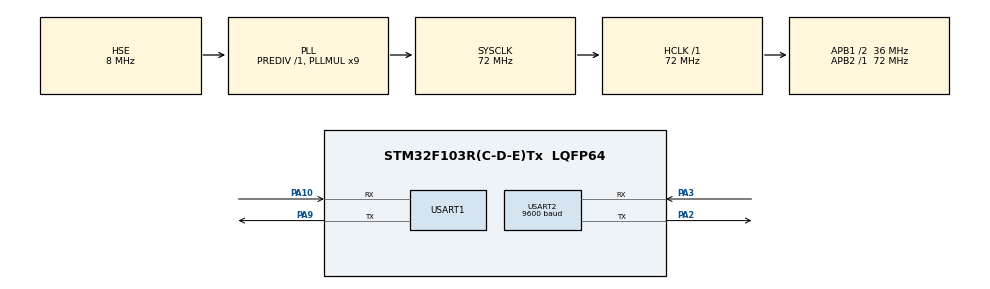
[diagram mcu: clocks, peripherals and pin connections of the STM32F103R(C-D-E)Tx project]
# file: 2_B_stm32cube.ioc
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Dma.Request0=USART2_RX
Dma.USART2_RX.0.Direction=DMA_PERIPH_TO_MEMORY
Dma.USART2_RX.0.Instance=DMA1_Channel6
Dma.USART2_RX.0.MemDataAlignment=DMA_MDATAALIGN_BYTE
Dma.USART2_RX.0.MemInc=DMA_MINC_ENABLE
Dma.USART2_RX.0.Mode=DMA_NORMAL
Dma.USART2_RX.0.PeriphDataAlignment=DMA_PDATAALIGN_BYTE
Dma.USART2_RX.0.PeriphInc=DMA_PINC_DISABLE
Dma.USART2_RX.0.Priority=DMA_PRIORITY_LOW
Mcu.Family=STM32F1
Mcu.Name=STM32F103R(C-D-E)Tx
Mcu.Package=LQFP64
NVIC.DMA1_Channel6_IRQn=true\:0\:0\:false\:false\:true\:false\:true\:true
NVIC.PriorityGroup=NVIC_PRIORITYGROUP_4
NVIC.USART2_IRQn=true\:0\:0\:false\:false\:true\:true\:true\:true
PA10.Mode=Asynchronous
PA10.Signal=USART1_RX
PA13.Mode=Serial_Wire
PA13.Signal=SYS_JTMS-SWDIO
PA14.Mode=Serial_Wire
PA14.Signal=SYS_JTCK-SWCLK
PA2.Mode=Asynchronous
PA2.Signal=USART2_TX
PA3.Mode=Asynchronous
PA3.Signal=USART2_RX
PA9.Mode=Asynchronous
PA9.Signal=USART1_TX
PD0-OSC_IN.Mode=HSE-External-Oscillator
PD0-OSC_IN.Signal=RCC_OSC_IN
PD1-OSC_OUT.Mode=HSE-External-Oscillator
PD1-OSC_OUT.Signal=RCC_OSC_OUT
ProjectManager.HeapSize=0x200
ProjectManager.StackSize=0x400
ProjectManager.TargetToolchain=STM32CubeIDE
RCC.AHBFreq_Value=72000000
RCC.APB1CLKDivider=RCC_HCLK_DIV2
RCC.APB1Freq_Value=36000000
RCC.APB1TimFreq_Value=72000000
RCC.APB2Freq_Value=72000000
RCC.APB2TimFreq_Value=72000000
RCC.HCLKFreq_Value=72000000
RCC.PLLMUL=RCC_PLL_MUL9
RCC.PLLSourceVirtual=RCC_PLLSOURCE_HSE
RCC.SYSCLKFreq_VALUE=72000000
RCC.SYSCLKSource=RCC_SYSCLKSOURCE_PLLCLK
RCC.USBFreq_Value=72000000
USART1.VirtualMode=VM_ASYNC
USART2.BaudRate=9600
USART2.VirtualMode=VM_ASYNC
board=custom

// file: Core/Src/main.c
/* USER CODE BEGIN Header */
/**
 ******************************************************************************
 * @file           : main.c
 * @brief          : Main program body
 ******************************************************************************
 * @attention
 *
 * Copyright (c) 2023 STMicroelectronics.
 * All rights reserved.
 *
 * This software is licensed under terms that can be found in the LICENSE file
 * in the root directory of this software component.
 * If no LICENSE file comes with this software, it is provided AS-IS.
 *
 ******************************************************************************
 */
/* USER CODE END Header */
#include "main.h"
#include "dma.h"
#include "gpio.h"
#include "usart.h"

/* USER CODE BEGIN PV */
uint8_t a = 0;
uint8_t b = 0;
uint8_t c = 0;
uint8_t d = 0;
uint8_t u2_RX_Buf[11];
/* USER CODE END PV */

void SystemClock_Config(void);

/* USER CODE BEGIN 0 */
uint8_t isNear(uint8_t a, uint8_t b, uint8_t c, uint8_t d) {
  if ((a == c && b - d <= 1 && b - d >= -1) ||
      (b == d && a - c <= 1 && a - c >= -1))
    return 1;
  else
    return 0;
}
/* USER CODE END 0 */

int main(void) {

  /* MCU Configuration--------------------------------------------------------*/

  /* Reset of all peripherals, Initializes the Flash interface and the Systick.
   */
  HAL_Init();

  /* Configure the system clock */
  SystemClock_Config();

  /* Initialize all configured peripherals */
  MX_GPIO_Init();
  MX_DMA_Init();
  MX_USART1_UART_Init();
  MX_USART2_UART_Init();

  /* Infinite loop */
  while (1) {

    /* USER CODE BEGIN 3 */
    while (HAL_UART_Receive(&huart2, u2_RX_Buf, sizeof(u2_RX_Buf), 100) !=
           HAL_OK)
      ;
    sscanf((char *)u2_RX_Buf, "%d %d %d %d", &a, &b, &c, &d);
    if (isNear(a, b, c, d)) {
      u2_printf("true ");
    } else {
      u2_printf("false");
    }
  }
  /* USER CODE END 3 */
}

void SystemClock_Config(void) {
  RCC_OscInitTypeDef RCC_OscInitStruct = {0};
  RCC_ClkInitTypeDef RCC_ClkInitStruct = {0};

  /** Initializes the RCC Oscillators according to the specified parameters
   * in the RCC_OscInitTypeDef structure.
   */
  RCC_OscInitStruct.OscillatorType = RCC_OSCILLATORTYPE_HSE;
  RCC_OscInitStruct.HSEState = RCC_HSE_ON;
  RCC_OscInitStruct.HSEPredivValue = RCC_HSE_PREDIV_DIV1;
  RCC_OscInitStruct.HSIState = RCC_HSI_ON;
  RCC_OscInitStruct.PLL.PLLState = RCC_PLL_ON;
  RCC_OscInitStruct.PLL.PLLSource = RCC_PLLSOURCE_HSE;
  RCC_OscInitStruct.PLL.PLLMUL = RCC_PLL_MUL9;
  if (HAL_RCC_OscConfig(&RCC_OscInitStruct) != HAL_OK) {
    Error_Handler();
  }

  /** Initializes the CPU, AHB and APB buses clocks
   */
  RCC_ClkInitStruct.ClockType = RCC_CLOCKTYPE_HCLK | RCC_CLOCKTYPE_SYSCLK |
                                RCC_CLOCKTYPE_PCLK1 | RCC_CLOCKTYPE_PCLK2;
  RCC_ClkInitStruct.SYSCLKSource = RCC_SYSCLKSOURCE_PLLCLK;
  RCC_ClkInitStruct.AHBCLKDivider = RCC_SYSCLK_DIV1;
  RCC_ClkInitStruct.APB1CLKDivider = RCC_HCLK_DIV2;
  RCC_ClkInitStruct.APB2CLKDivider = RCC_HCLK_DIV1;

  if (HAL_RCC_ClockConfig(&RCC_ClkInitStruct, FLASH_LATENCY_2) != HAL_OK) {
    Error_Handler();
  }
}

void Error_Handler(void) {
  __disable_irq();
  while (1) {
  }
}

#ifdef USE_FULL_ASSERT
/**
 * @brief  Reports the name of the source file and the source line number
 *         where the assert_param error has occurred.
 * @param  file: pointer to the source file name
 * @param  line: assert_param error line source number
 * @retval None
 */
void assert_failed(uint8_t *file, uint32_t line) {
  /* USER CODE BEGIN 6 */
  /* User can add his own implementation to report the file name and line
     number, ex: printf("Wrong parameters value: file %s on line %d\r\n", file,
     line) */
  /* USER CODE END 6 */
}
#endif /* USE_FULL_ASSERT */
